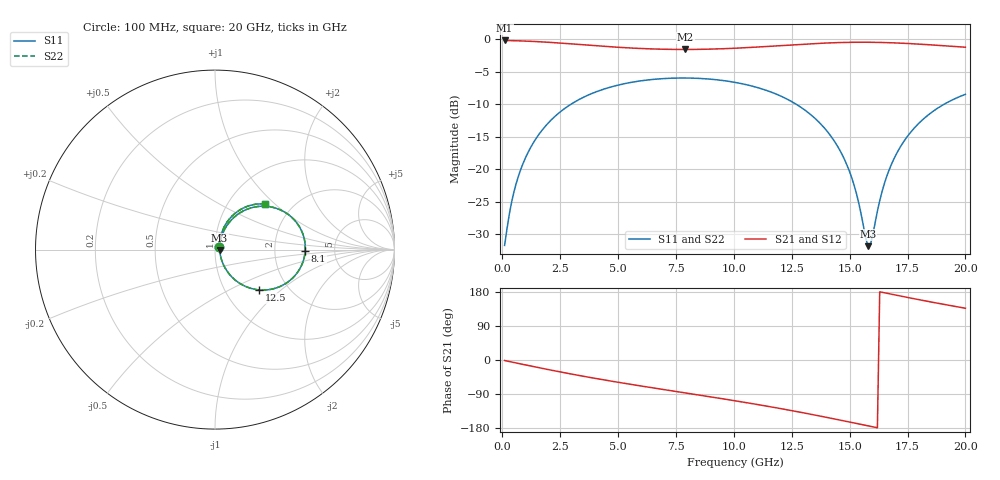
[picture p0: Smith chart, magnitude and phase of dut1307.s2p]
! Touchstone file exported from HFSS 2026.1.0
!  File:  C:/ffzhzh/LocalFiles/Ansys_Project_Files/temp_train_TSV_RDL_1307_1783334518_38820.aedt
!  Generated:  06:52:38 PM Jul  6, 2026
!  Design:  TSV_RDL
!  Project:  temp_train_TSV_RDL_1307_1783334518_38820
! Variables:
!  h_bsmrdl = 3.18um
!  h_ox = 20um
!  h_rdl = 5um
!  h_sub = 77.73um
!  h_tmrdl = 5.23um
!  h_tsv = 77.73um
!  h_via = 3um
!  l_bsmrdl = 539.98um
!  l_sub = 3647.51um
!  l_tmrdl = 380.32um
!  m_sub = 200um
!  pitch = 37.82um
!  r_tsv = 3.1um
!  s_tmrdl = 10um
!  w_bsmrdl = 23.01um
!  w_sub = 500um
!  w_tmrdl = 12.42um
!  x_tsv_center1 = 386.53um
!  x_tsv_center2 = 949.52um
!  x_tsv_center3 = 1342.26um
!  x_tsv_center4 = 1905.25um
!  x_tsv_center5 = 2297.99um
!  x_tsv_center6 = 2860.98um
# GHz S MA R 50.000000
! Terminal data exported
! Port[1] = TM_RDL1_1_T1
! Port[2] = TM_RDL5_1_T1
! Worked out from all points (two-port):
!   200 points, 100 MHz to 20 GHz, reference 50 ohm
!   highest |S21| = -0.20 dB at 100 MHz (marker M1); lowest = -1.6 dB at 7.9 GHz (marker M2)
!   |S21| within 3 dB of the highest: start of sweep to end of sweep
!   lowest |S11| = -31.8 dB at 15.8 GHz (marker M3), VSWR 1.05, Z = 52.6 - j0.214 ohm
!   |S11| at or under -10 dB: start of sweep to 2.963 GHz; 12.7 GHz to 19.08 GHz (6.383 GHz wide, 40.2 % of centre)
!   |S22| runs from -31.9 to -6.0 dB; largest |S21 - S12| = 1.7e-14
!   S11 on the Smith chart (normalised r, x): 100 MHz: 1.05, +0.03; 8.1 GHz: 3.02, -0.06; 12.5 GHz: 1.43, -0.72; 20 GHz: 1.47, +0.87
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0.1  0.02608 28.7  0.9773 -1.4  0.9773 -1.4  0.02608 28.7
! Gamma 0 0 0 0
! Port Impedance 50 0 50 0
0.5  0.06682 61.5  0.9731 -6.6  0.9731 -6.6  0.06682 61.5
1.2  0.1446 63.9  0.9633 -15.5  0.9633 -15.5  0.1446 63.9
2.2  0.2482 55.8  0.9412 -27.9  0.9412 -27.9  0.2482 55.8
3.5  0.3575 42.6  0.905 -42.9  0.905 -42.9  0.3575 42.6
5  0.4437 27.7  0.8663 -58.8  0.8663 -58.8  0.4437 27.6
6.8  0.4958 10.9  0.8381 -76.4  0.8381 -76.4  0.4958 10.8
7.9  0.5032 0.9  0.8334 -86.8  0.8334 -86.8  0.5032 0.9
8.1  0.5026 -0.9  0.8337 -88.7  0.8337 -88.7  0.5026 -0.9
10.1  0.464 -19.2  0.8526 -108.1  0.8526 -108.1  0.464 -19.2
12.5  0.3315 -42.6  0.9036 -133.6  0.9036 -133.6  0.3315 -42.6
13.4  0.2562 -51.4  0.9233 -144.1  0.9233 -144.1  0.2562 -51.5
14.3  0.1689 -59.0  0.9386 -155.0  0.9386 -155.0  0.1689 -59.1
14.9  0.1064 -61.1  0.9449 -162.4  0.9449 -162.4  0.1064 -61.2
15.3  0.06463 -56.6  0.9469 -167.5  0.9469 -167.5  0.06457 -56.8
15.8  0.02573 -4.5  0.9469 -173.8  0.9469 -173.8  0.02552 -4.6
15.9  0.02646 18.8  0.9466 -175.0  0.9466 -175.0  0.02626 18.9
16.3  0.05747 61.7  0.944 179.9  0.944 179.9  0.05737 61.9
16.7  0.09837 68.2  0.9397 174.9  0.9397 174.9  0.0983 68.3
17.3  0.1598 66.8  0.9304 167.5  0.9304 167.5  0.1597 66.9
18  0.2269 61.4  0.916 159.1  0.916 159.1  0.2269 61.4
20  0.377 42.4  0.8674 136.6  0.8674 136.6  0.377 42.4
